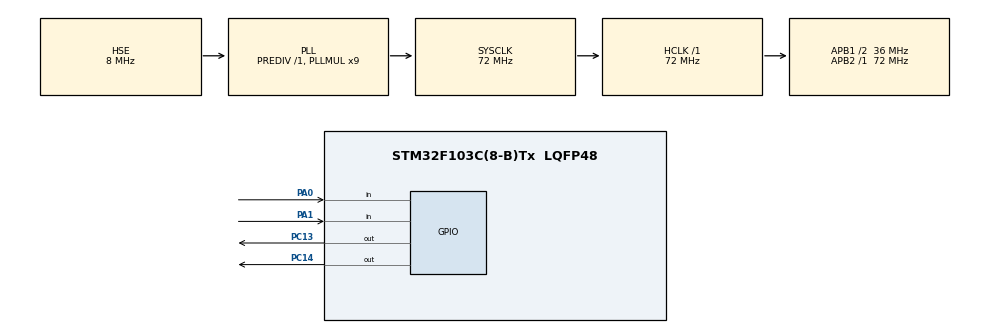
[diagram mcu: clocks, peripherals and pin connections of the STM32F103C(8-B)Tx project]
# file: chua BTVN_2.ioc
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Mcu.Family=STM32F1
Mcu.Name=STM32F103C(8-B)Tx
Mcu.Package=LQFP48
NVIC.PriorityGroup=NVIC_PRIORITYGROUP_4
PA0-WKUP.GPIO_PuPd=GPIO_PULLUP
PA0-WKUP.Signal=GPIO_Input
PA1.GPIO_PuPd=GPIO_PULLUP
PA1.Signal=GPIO_Input
PA13.Mode=Serial_Wire
PA13.Signal=SYS_JTMS-SWDIO
PA14.Mode=Serial_Wire
PA14.Signal=SYS_JTCK-SWCLK
PC13-TAMPER-RTC.Signal=GPIO_Output
PC14-OSC32_IN.Signal=GPIO_Output
PD0-OSC_IN.Mode=HSE-External-Oscillator
PD0-OSC_IN.Signal=RCC_OSC_IN
PD1-OSC_OUT.Mode=HSE-External-Oscillator
PD1-OSC_OUT.Signal=RCC_OSC_OUT
ProjectManager.HeapSize=0x200
ProjectManager.StackSize=0x400
ProjectManager.TargetToolchain=MDK-ARM V5.32
RCC.AHBFreq_Value=72000000
RCC.APB1CLKDivider=RCC_HCLK_DIV2
RCC.APB1Freq_Value=36000000
RCC.APB1TimFreq_Value=72000000
RCC.APB2Freq_Value=72000000
RCC.APB2TimFreq_Value=72000000
RCC.HCLKFreq_Value=72000000
RCC.PLLMUL=RCC_PLL_MUL9
RCC.PLLSourceVirtual=RCC_PLLSOURCE_HSE
RCC.SYSCLKFreq_VALUE=72000000
RCC.SYSCLKSource=RCC_SYSCLKSOURCE_PLLCLK
RCC.USBFreq_Value=72000000
board=custom

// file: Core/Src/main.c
/* USER CODE BEGIN Header */
/**
  ******************************************************************************
  * @file           : main.c
  * @brief          : Main program body
  ******************************************************************************
  * @attention
  *
  * Copyright (c) 2024 STMicroelectronics.
  * All rights reserved.
  *
  * This software is licensed under terms that can be found in the LICENSE file
  * in the root directory of this software component.
  * If no LICENSE file comes with this software, it is provided AS-IS.
  *
  ******************************************************************************
  */
/* USER CODE END Header */
#include "main.h"

/* USER CODE BEGIN Includes */
#include "C:\hoc\stm32 turtorial\stm32 co ban\BTVN\BTVN_2\Chua BTVN_2\chua BTVN_2\MyLib\Button.h"
/* USER CODE END Includes */

void SystemClock_Config(void);
static void MX_GPIO_Init(void);

/* USER CODE BEGIN 0 */

Button_Typedef button1;
Button_Typedef button2;
// tao kieu cau truc du lieu cac trang thai cua led
typedef enum
{
	Led_Off,
	LedBlink1Hz,
	LedBlink5Hz,
}LedStatus;

LedStatus led_status;

void btn_pressing_callback(Button_Typedef *ButtonX)
{
	if(ButtonX == &button1)
	{
		// nhan nut de chuyen doi trang thai led
		switch(led_status)
		{
			case Led_Off:
				led_status = LedBlink1Hz;
				break;
			case LedBlink1Hz:
				led_status = LedBlink5Hz;
				break;
			case LedBlink5Hz:
				led_status = Led_Off;
				break;
		}
	}
	else if (ButtonX == &button2){}
}

// che do Off
void LedOff()
{
	HAL_GPIO_WritePin(GPIOC, GPIO_PIN_13, GPIO_PIN_SET);
	HAL_GPIO_WritePin(GPIOC, GPIO_PIN_14, GPIO_PIN_RESET);
}

//che do nhap nhay led 1Hz o chan GPIOC_13
void Led_Blink_1Hz()
{
	static uint32_t time_current = 0;
	if(HAL_GetTick()-time_current > 500)
	{
		HAL_GPIO_TogglePin(GPIOC, GPIO_PIN_13);
		time_current = HAL_GetTick();
	}
}

//che do nhap nhay led 5Hz o chan GPIOC_14
void Led_Blink_5Hz()
{
	static uint32_t time_current2 = 0;
	if(HAL_GetTick()-time_current2 > 100)
	{
		HAL_GPIO_WritePin(GPIOC, GPIO_PIN_13, GPIO_PIN_SET); // tat led o chan GPIOC_13
		HAL_GPIO_TogglePin(GPIOC, GPIO_PIN_14);
		time_current2 = HAL_GetTick();
	}
}

// trang thai hien tai cua led
void led_handle()
{
	switch(led_status)
	{
		case Led_Off:
			LedOff();
		break;
		case LedBlink1Hz:
			Led_Blink_1Hz();
		break;
		case LedBlink5Hz:
			Led_Blink_5Hz();
		break;
	}
}

/* USER CODE END 0 */

int main(void)
{

  /* MCU Configuration--------------------------------------------------------*/

  /* Reset of all peripherals, Initializes the Flash interface and the Systick. */
  HAL_Init();

  /* Configure the system clock */
  SystemClock_Config();

  /* Initialize all configured peripherals */
  MX_GPIO_Init();
  /* USER CODE BEGIN 2 */
	Button_Init(&button1, GPIOA, GPIO_PIN_0);
	Button_Init(&button2, GPIOA, GPIO_PIN_1);
  /* USER CODE END 2 */

  /* Infinite loop */
  while (1)
  {

    /* USER CODE BEGIN 3 */
		button_handle(&button1);
		button_handle(&button2);
		led_handle();
  }
  /* USER CODE END 3 */
}

void SystemClock_Config(void)
{
  RCC_OscInitTypeDef RCC_OscInitStruct = {0};
  RCC_ClkInitTypeDef RCC_ClkInitStruct = {0};

  /** Initializes the RCC Oscillators according to the specified parameters
  * in the RCC_OscInitTypeDef structure.
  */
  RCC_OscInitStruct.OscillatorType = RCC_OSCILLATORTYPE_HSE;
  RCC_OscInitStruct.HSEState = RCC_HSE_ON;
  RCC_OscInitStruct.HSEPredivValue = RCC_HSE_PREDIV_DIV1;
  RCC_OscInitStruct.HSIState = RCC_HSI_ON;
  RCC_OscInitStruct.PLL.PLLState = RCC_PLL_ON;
  RCC_OscInitStruct.PLL.PLLSource = RCC_PLLSOURCE_HSE;
  RCC_OscInitStruct.PLL.PLLMUL = RCC_PLL_MUL9;
  if (HAL_RCC_OscConfig(&RCC_OscInitStruct) != HAL_OK)
  {
    Error_Handler();
  }

  /** Initializes the CPU, AHB and APB buses clocks
  */
  RCC_ClkInitStruct.ClockType = RCC_CLOCKTYPE_HCLK|RCC_CLOCKTYPE_SYSCLK
                              |RCC_CLOCKTYPE_PCLK1|RCC_CLOCKTYPE_PCLK2;
  RCC_ClkInitStruct.SYSCLKSource = RCC_SYSCLKSOURCE_PLLCLK;
  RCC_ClkInitStruct.AHBCLKDivider = RCC_SYSCLK_DIV1;
  RCC_ClkInitStruct.APB1CLKDivider = RCC_HCLK_DIV2;
  RCC_ClkInitStruct.APB2CLKDivider = RCC_HCLK_DIV1;

  if (HAL_RCC_ClockConfig(&RCC_ClkInitStruct, FLASH_LATENCY_2) != HAL_OK)
  {
    Error_Handler();
  }
}

static void MX_GPIO_Init(void)
{
  GPIO_InitTypeDef GPIO_InitStruct = {0};

  /* GPIO Ports Clock Enable */
  __HAL_RCC_GPIOC_CLK_ENABLE();
  __HAL_RCC_GPIOD_CLK_ENABLE();
  __HAL_RCC_GPIOA_CLK_ENABLE();

  /*Configure GPIO pin Output Level */
  HAL_GPIO_WritePin(GPIOC, GPIO_PIN_13|GPIO_PIN_14, GPIO_PIN_RESET);

  /*Configure GPIO pins : PC13 PC14 */
  GPIO_InitStruct.Pin = GPIO_PIN_13|GPIO_PIN_14;
  GPIO_InitStruct.Mode = GPIO_MODE_OUTPUT_PP;
  GPIO_InitStruct.Pull = GPIO_NOPULL;
  GPIO_InitStruct.Speed = GPIO_SPEED_FREQ_LOW;
  HAL_GPIO_Init(GPIOC, &GPIO_InitStruct);

  /*Configure GPIO pins : PA0 PA1 */
  GPIO_InitStruct.Pin = GPIO_PIN_0|GPIO_PIN_1;
  GPIO_InitStruct.Mode = GPIO_MODE_INPUT;
  GPIO_InitStruct.Pull = GPIO_PULLUP;
  HAL_GPIO_Init(GPIOA, &GPIO_InitStruct);

}

void Error_Handler(void)
{
  __disable_irq();
  while (1)
  {
  }
}
